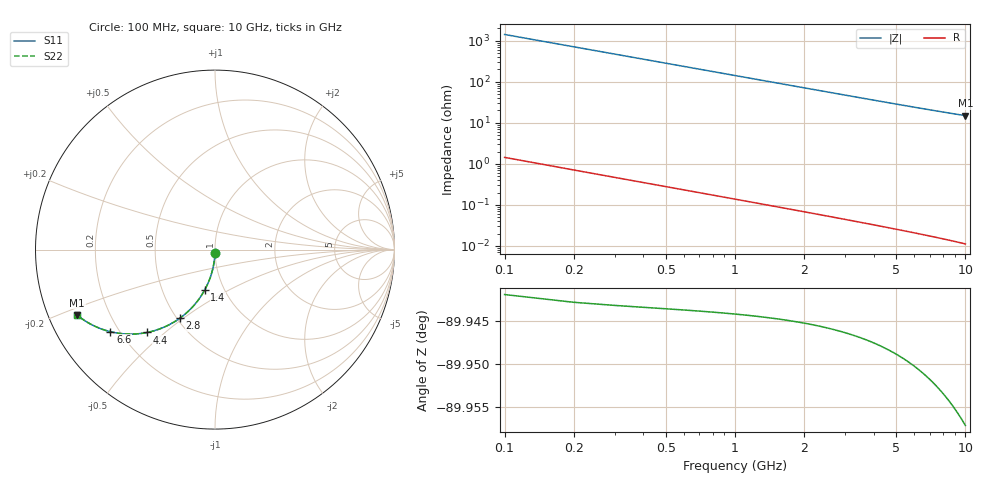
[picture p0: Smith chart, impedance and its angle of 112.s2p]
# Hz S RI R 50.00
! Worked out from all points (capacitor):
!   100 points, 100 MHz to 10 GHz, reference 50 ohm
!   read as one part in shunt: C = 1.12 pF near 100 MHz
!   lowest |Z| = 15 ohm at 10 GHz (marker M1)
!   S11 on the Smith chart (normalised r, x): 100 MHz: 1.00, -0.03; 1.4 GHz: 0.81, -0.39; 2.8 GHz: 0.52, -0.48; 4.4 GHz: 0.30, -0.44; 6.6 GHz: 0.17, -0.34; 10 GHz: 0.08, -0.22
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1e8  -0.000205 -0.0171  0.9996 -0.0181  0.9996 -0.0181  -0.000205 -0.0171
2e8  -0.00115 -0.0341  0.9986 -0.0362  0.9986 -0.0362  -0.00115 -0.0341
3e8  -0.0027 -0.0511  0.997 -0.0542  0.997 -0.0542  -0.0027 -0.0511
4e8  -0.00487 -0.068  0.9949 -0.0721  0.9949 -0.0721  -0.00487 -0.068
5e8  -0.00763 -0.0847  0.9921 -0.0899  0.9921 -0.0899  -0.00763 -0.0847
6e8  -0.011 -0.1013  0.9887 -0.1075  0.9887 -0.1075  -0.011 -0.1013
7e8  -0.0149 -0.1177  0.9848 -0.1249  0.9848 -0.1249  -0.0149 -0.1177
9e8  -0.0245 -0.1499  0.9752 -0.1591  0.9752 -0.1591  -0.0245 -0.1499
1.1e9  -0.0362 -0.1809  0.9635 -0.1923  0.9635 -0.1923  -0.0362 -0.1809
1.4e9  -0.0574 -0.2252  0.9423 -0.2396  0.9423 -0.2396  -0.0574 -0.2252
1.8e9  -0.0915 -0.2789  0.908 -0.2975  0.908 -0.2975  -0.0915 -0.2789
2.3e9  -0.1416 -0.3364  0.8579 -0.3603  0.8579 -0.3603  -0.1416 -0.3364
2.8e9  -0.1968 -0.3828  0.8025 -0.4119  0.8025 -0.4119  -0.1968 -0.3828
3.4e9  -0.266 -0.4239  0.7331 -0.4593  0.7331 -0.4593  -0.266 -0.4239
4.4e9  -0.3793 -0.4618  0.6194 -0.5079  0.6194 -0.5079  -0.3793 -0.4618
5.1e9  -0.4521 -0.4705  0.5462 -0.5241  0.5462 -0.5241  -0.4521 -0.4705
5.8e9  -0.5177 -0.4685  0.4802 -0.5297  0.4802 -0.5297  -0.5177 -0.4685
6.6e9  -0.5832 -0.4572  0.4141 -0.5273  0.4141 -0.5273  -0.5832 -0.4572
6.7e9  -0.5907 -0.4553  0.4065 -0.5265  0.4065 -0.5265  -0.5907 -0.4553
7.5e9  -0.6456 -0.4372  0.3509 -0.5174  0.3509 -0.5174  -0.6456 -0.4372
8.4e9  -0.6973 -0.4127  0.2983 -0.5032  0.2983 -0.5032  -0.6973 -0.4127
1e10  -0.7681 -0.3648  0.2256 -0.4741  0.2256 -0.4741  -0.7681 -0.3648
